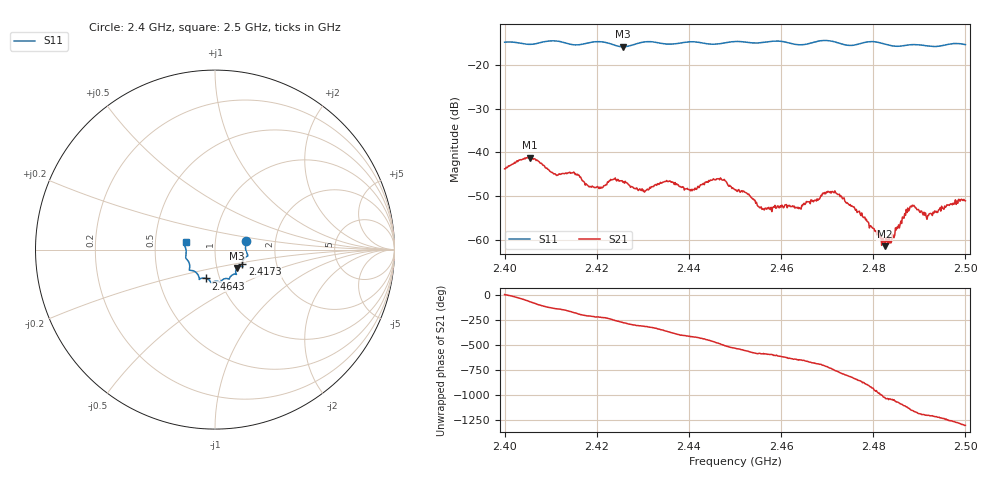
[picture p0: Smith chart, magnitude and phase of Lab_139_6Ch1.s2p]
# Hz S RI R 50
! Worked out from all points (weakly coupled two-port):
!   601 points, 2.4 GHz to 2.5 GHz, reference 50 ohm
!   highest |S21| = -41.18 dB at 2.4055 GHz (marker M1); lowest = -61.4 dB at 2.4825 GHz (marker M2)
!   lowest |S11| = -15.9 dB at 2.4257 GHz (marker M3), VSWR 1.38, Z = 62.4 - j13.1 ohm
!   |S11| at or under -10 dB: start of sweep to end of sweep
!   S12 and S22 are empty: the file has one direction only
!   S11 on the Smith chart (normalised r, x): 2.4 GHz: 1.41, +0.15; 2.4173 GHz: 1.34, -0.23; 2.4643 GHz: 0.86, -0.28; 2.5 GHz: 0.72, +0.06
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2.4e9  0.1731 0.0498  0.00645 0.00078  0 0  0 0
2.4055e9  0.1701 0.00755  0.00366 -0.00792  0 0  0 0
2.411e9  0.1831 -0.0344  -0.00394 -0.00409  0 0  0 0
2.416667e9  0.1527 -0.0746  -0.00485 0.00123  0 0  0 0
2.417333e9  0.1523 -0.0821  -0.00423 0.00168  0 0  0 0
2.420833e9  0.1547 -0.0965  -0.00302 0.00248  0 0  0 0
2.4235e9  0.1409 -0.0936  -0.00204 0.00445  0 0  0 0
2.425667e9  0.1226 -0.1022  0.000282 0.00457  0 0  0 0
2.430167e9  0.1184 -0.1367  0.00236 0.00288  0 0  0 0
2.433333e9  0.1129 -0.1366  0.00406 0.00171  0 0  0 0
2.440667e9  0.0788 -0.1644  0.00216 -0.00295  0 0  0 0
2.4465e9  0.0438 -0.1669  -0.00262 -0.00426  0 0  0 0
2.45e9  0.0297 -0.181  -0.00368 -0.000758  0 0  0 0
2.455833e9  -0.00549 -0.1781  -0.00159 0.00158  0 0  0 0
2.464333e9  -0.0502 -0.1605  0.000631 0.00217  0 0  0 0
2.466667e9  -0.0763 -0.1598  0.00197 0.00201  0 0  0 0
2.472167e9  -0.0881 -0.155  0.00264 -0.0021  0 0  0 0
2.4825e9  -0.1406 -0.0981  0.000435 0.000736  0 0  0 0
2.483333e9  -0.1408 -0.0896  0.000725 0.000548  0 0  0 0
2.4885e9  -0.1619 -0.0483  0.000808 -0.00237  0 0  0 0
2.491667e9  -0.1611 -0.0284  -0.000879 -0.00149  0 0  0 0
2.5e9  -0.1638 0.042  -0.00214 0.00182  0 0  0 0
